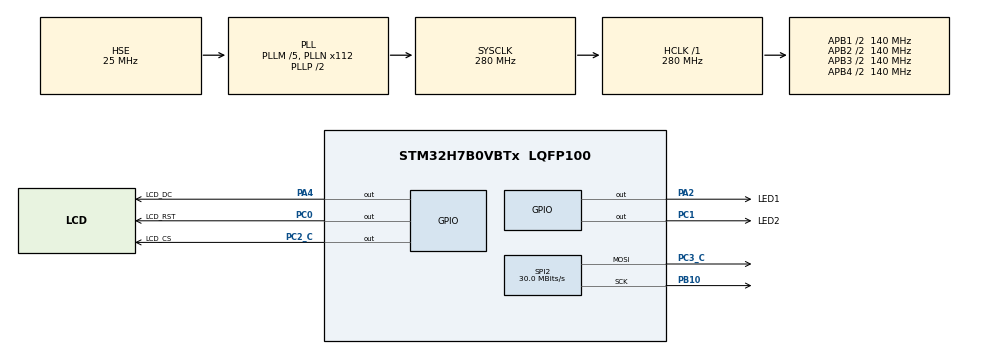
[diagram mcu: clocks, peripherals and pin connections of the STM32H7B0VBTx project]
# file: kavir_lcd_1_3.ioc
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CORTEX_M7.AccessPermission_S-Cortex_Memory_Protection_Unit_Region1_Settings_S=MPU_REGION_FULL_ACCESS
CORTEX_M7.AccessPermission_S-Cortex_Memory_Protection_Unit_Region2_Settings_S=MPU_REGION_FULL_ACCESS
CORTEX_M7.AccessPermission_S-Cortex_Memory_Protection_Unit_Region3_Settings_S=MPU_REGION_FULL_ACCESS
CORTEX_M7.BaseAddress_S-Cortex_Memory_Protection_Unit_Region1_Settings_S=0x24000000
CORTEX_M7.BaseAddress_S-Cortex_Memory_Protection_Unit_Region2_Settings_S=0x90000000
CORTEX_M7.BaseAddress_S-Cortex_Memory_Protection_Unit_Region3_Settings_S=0x90000000
CORTEX_M7.CPU_DCache=Enabled
CORTEX_M7.CPU_ICache=Enabled
CORTEX_M7.DisableExec_S-Cortex_Memory_Protection_Unit_Region1_Settings_S=MPU_INSTRUCTION_ACCESS_DISABLE
CORTEX_M7.DisableExec_S-Cortex_Memory_Protection_Unit_Region2_Settings_S=MPU_INSTRUCTION_ACCESS_DISABLE
CORTEX_M7.Enable_S-Cortex_Memory_Protection_Unit_Region1_Settings_S=MPU_REGION_ENABLE
CORTEX_M7.Enable_S-Cortex_Memory_Protection_Unit_Region2_Settings_S=MPU_REGION_ENABLE
CORTEX_M7.Enable_S-Cortex_Memory_Protection_Unit_Region3_Settings_S=MPU_REGION_ENABLE
CORTEX_M7.IsBufferable_S-Cortex_Memory_Protection_Unit_Region1_Settings_S=MPU_ACCESS_BUFFERABLE
CORTEX_M7.IsBufferable_S-Cortex_Memory_Protection_Unit_Region2_Settings_S=MPU_ACCESS_BUFFERABLE
CORTEX_M7.IsBufferable_S-Cortex_Memory_Protection_Unit_Region3_Settings_S=MPU_ACCESS_BUFFERABLE
CORTEX_M7.IsCacheable_S-Cortex_Memory_Protection_Unit_Region1_Settings_S=MPU_ACCESS_CACHEABLE
CORTEX_M7.IsCacheable_S-Cortex_Memory_Protection_Unit_Region2_Settings_S=MPU_ACCESS_CACHEABLE
CORTEX_M7.IsCacheable_S-Cortex_Memory_Protection_Unit_Region3_Settings_S=MPU_ACCESS_CACHEABLE
CORTEX_M7.IsShareable_S-Cortex_Memory_Protection_Unit_Region1_Settings_S=MPU_ACCESS_SHAREABLE
CORTEX_M7.Size_S-Cortex_Memory_Protection_Unit_Region1_Settings_S=MPU_REGION_SIZE_1MB
CORTEX_M7.Size_S-Cortex_Memory_Protection_Unit_Region2_Settings_S=MPU_REGION_SIZE_8MB
CORTEX_M7.Size_S-Cortex_Memory_Protection_Unit_Region3_Settings_S=MPU_REGION_SIZE_2MB
Dma.Request0=SPI2_TX
Dma.SPI2_TX.0.Direction=DMA_MEMORY_TO_PERIPH
Dma.SPI2_TX.0.EventEnable=DISABLE
Dma.SPI2_TX.0.FIFOMode=DMA_FIFOMODE_DISABLE
Dma.SPI2_TX.0.Instance=DMA1_Stream0
Dma.SPI2_TX.0.MemDataAlignment=DMA_MDATAALIGN_BYTE
Dma.SPI2_TX.0.MemInc=DMA_MINC_ENABLE
Dma.SPI2_TX.0.Mode=DMA_NORMAL
Dma.SPI2_TX.0.PeriphDataAlignment=DMA_PDATAALIGN_BYTE
Dma.SPI2_TX.0.PeriphInc=DMA_PINC_DISABLE
Dma.SPI2_TX.0.Polarity=HAL_DMAMUX_REQ_GEN_RISING
Dma.SPI2_TX.0.Priority=DMA_PRIORITY_LOW
Dma.SPI2_TX.0.RequestNumber=1
Dma.SPI2_TX.0.SignalID=NONE
Dma.SPI2_TX.0.SyncEnable=DISABLE
Dma.SPI2_TX.0.SyncPolarity=HAL_DMAMUX_SYNC_NO_EVENT
Dma.SPI2_TX.0.SyncRequestNumber=1
Dma.SPI2_TX.0.SyncSignalID=NONE
Mcu.Family=STM32H7
Mcu.Name=STM32H7B0VBTx
Mcu.Package=LQFP100
NVIC.DMA1_Stream0_IRQn=true\:0\:0\:false\:false\:true\:false\:true\:true
NVIC.PriorityGroup=NVIC_PRIORITYGROUP_4
NVIC.SPI2_IRQn=true\:0\:0\:false\:false\:true\:false\:true\:true
PA2.GPIO_Label=LED1
PA2.Signal=GPIO_Output
PA4.GPIO_Label=LCD_DC
PA4.GPIO_Speed=GPIO_SPEED_FREQ_MEDIUM
PA4.Signal=GPIO_Output
PB10.Mode=TX_Only_Simplex_Unidirect_Master
PB10.Signal=SPI2_SCK
PC0.GPIO_Label=LCD_RST
PC0.PinState=GPIO_PIN_SET
PC0.Signal=GPIO_Output
PC1.GPIO_Label=LED2
PC1.Signal=GPIO_Output
PC2_C.GPIO_Label=LCD_CS
PC2_C.GPIO_Speed=GPIO_SPEED_FREQ_MEDIUM
PC2_C.PinState=GPIO_PIN_SET
PC2_C.Signal=GPIO_Output
PC3_C.Mode=TX_Only_Simplex_Unidirect_Master
PC3_C.Signal=SPI2_MOSI
PH0-OSC_IN.Mode=HSE-External-Oscillator
PH0-OSC_IN.Signal=RCC_OSC_IN
PH1-OSC_OUT.Mode=HSE-External-Oscillator
PH1-OSC_OUT.Signal=RCC_OSC_OUT
ProjectManager.HeapSize=0x4000
ProjectManager.StackSize=0x2000
ProjectManager.TargetToolchain=STM32CubeIDE
RCC.ADCFreq_Value=120000000
RCC.APB1Freq_Value=140000000
RCC.APB2Freq_Value=140000000
RCC.APB3Freq_Value=140000000
RCC.APB4Freq_Value=140000000
RCC.CDPPRE=RCC_APB3_DIV2
RCC.CDPPRE1=RCC_APB1_DIV2
RCC.CDPPRE2=RCC_APB2_DIV2
RCC.CortexFreq_Value=280000000
RCC.DIVM1=5
RCC.DIVM2=25
RCC.DIVN1=112
RCC.DIVN2=240
RCC.HCLKFreq_Value=280000000
RCC.HSE_VALUE=25000000
RCC.PLLSourceVirtual=RCC_PLLSOURCE_HSE
RCC.SPI123CLockSelection=RCC_SPI123CLKSOURCE_PLL2
RCC.SRDPPRE=RCC_APB4_DIV2
RCC.SYSCLKFreq_VALUE=280000000
RCC.SYSCLKSource=RCC_SYSCLKSOURCE_PLLCLK
RCC.USBFreq_Value=280000000
SPI2.BaudRatePrescaler=SPI_BAUDRATEPRESCALER_4
SPI2.CalculateBaudRate=30.0 MBits/s
SPI2.DataSize=SPI_DATASIZE_8BIT
SPI2.Direction=SPI_DIRECTION_2LINES_TXONLY
SPI2.Mode=SPI_MODE_MASTER
SPI2.VirtualType=VM_MASTER
board=custom

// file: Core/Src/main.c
/* USER CODE BEGIN Header */
/**
  ******************************************************************************
  * @file           : main.c
  * @brief          : Main program body
  ******************************************************************************
  * @attention
  *
  * Copyright (c) 2023 STMicroelectronics.
  * All rights reserved.
  *
  * This software is licensed under terms that can be found in the LICENSE file
  * in the root directory of this software component.
  * If no LICENSE file comes with this software, it is provided AS-IS.
  *
  ******************************************************************************
  */
/* USER CODE END Header */
#include "main.h"

/* USER CODE BEGIN Includes */
#include "GUI.h"
#include "DIALOG.h"
#include "st7789.h"
/* USER CODE END Includes */

SPI_HandleTypeDef hspi2;
DMA_HandleTypeDef hdma_spi2_tx;

/* USER CODE BEGIN PV */
extern GUI_CONST_STORAGE GUI_FONT GUI_FontBTitr24;
/* USER CODE END PV */

void SystemClock_Config(void);
static void MPU_Config(void);
static void MX_GPIO_Init(void);
static void MX_DMA_Init(void);
static void MX_SPI2_Init(void);
/* USER CODE BEGIN PFP */
extern void MainTask(void);
/* USER CODE END PFP */

/* USER CODE BEGIN 0 */
uint8_t spi_transfer_complete = 0;
/* USER CODE END 0 */

int main(void)
{

  /* MPU Configuration--------------------------------------------------------*/
  MPU_Config();

  /* Enable I-Cache---------------------------------------------------------*/
  SCB_EnableICache();

  /* Enable D-Cache---------------------------------------------------------*/
  SCB_EnableDCache();

  /* MCU Configuration--------------------------------------------------------*/

  /* Reset of all peripherals, Initializes the Flash interface and the Systick. */
  HAL_Init();

  /* Configure the system clock */
  SystemClock_Config();

  /* Initialize all configured peripherals */
  MX_GPIO_Init();
  MX_DMA_Init();
  MX_SPI2_Init();
  /* USER CODE BEGIN 2 */
  HAL_GPIO_WritePin(LED1_GPIO_Port, LED1_Pin, GPIO_PIN_SET);
//  Lcd_Init();
//  LCD_Clear(RED);
//  HAL_Delay(1000);
//  LCD_Clear(GREEN);
//  HAL_Delay(1000);
//  LCD_Clear(BLUE);
//  HAL_Delay(1000);
  WM_SetCreateFlags(WM_CF_MEMDEV);
  GUI_Init();
  GUI_Clear();
  GUI_SetColor(GUI_RED);
  GUI_DispStringAt("Hello Masoud", 10, 10);
  GUI_UC_SetEncodeUTF8(); /* Enable UTF8 decoding */
  GUI_UC_EnableBIDI(1);   /* Enable bidirectional text */
  GUI_SetFont(&GUI_FontBTitr24);
  GUI_DispStringAt("سلام مسعود", 10, 100);
  HAL_Delay(100);
  MainTask();
  /* USER CODE END 2 */

  /* Infinite loop */
  /* USER CODE BEGIN WHILE */
  while (1)
  {
	  HAL_GPIO_TogglePin(LED1_GPIO_Port, LED1_Pin);
	  HAL_GPIO_TogglePin(LED2_GPIO_Port, LED2_Pin);
	  HAL_Delay(500);
    /* USER CODE END WHILE */

  }
}

void SystemClock_Config(void)
{
  RCC_OscInitTypeDef RCC_OscInitStruct = {0};
  RCC_ClkInitTypeDef RCC_ClkInitStruct = {0};

  /*AXI clock gating */
  RCC->CKGAENR = 0xFFFFFFFF;

  /** Supply configuration update enable
  */
  HAL_PWREx_ConfigSupply(PWR_LDO_SUPPLY);

  /** Configure the main internal regulator output voltage
  */
  __HAL_PWR_VOLTAGESCALING_CONFIG(PWR_REGULATOR_VOLTAGE_SCALE0);

  while(!__HAL_PWR_GET_FLAG(PWR_FLAG_VOSRDY)) {}

  /** Initializes the RCC Oscillators according to the specified parameters
  * in the RCC_OscInitTypeDef structure.
  */
  RCC_OscInitStruct.OscillatorType = RCC_OSCILLATORTYPE_HSE;
  RCC_OscInitStruct.HSEState = RCC_HSE_ON;
  RCC_OscInitStruct.PLL.PLLState = RCC_PLL_ON;
  RCC_OscInitStruct.PLL.PLLSource = RCC_PLLSOURCE_HSE;
  RCC_OscInitStruct.PLL.PLLM = 5;
  RCC_OscInitStruct.PLL.PLLN = 112;
  RCC_OscInitStruct.PLL.PLLP = 2;
  RCC_OscInitStruct.PLL.PLLQ = 2;
  RCC_OscInitStruct.PLL.PLLR = 2;
  RCC_OscInitStruct.PLL.PLLRGE = RCC_PLL1VCIRANGE_2;
  RCC_OscInitStruct.PLL.PLLVCOSEL = RCC_PLL1VCOWIDE;
  RCC_OscInitStruct.PLL.PLLFRACN = 0;
  if (HAL_RCC_OscConfig(&RCC_OscInitStruct) != HAL_OK)
  {
    Error_Handler();
  }

  /** Initializes the CPU, AHB and APB buses clocks
  */
  RCC_ClkInitStruct.ClockType = RCC_CLOCKTYPE_HCLK|RCC_CLOCKTYPE_SYSCLK
                              |RCC_CLOCKTYPE_PCLK1|RCC_CLOCKTYPE_PCLK2
                              |RCC_CLOCKTYPE_D3PCLK1|RCC_CLOCKTYPE_D1PCLK1;
  RCC_ClkInitStruct.SYSCLKSource = RCC_SYSCLKSOURCE_PLLCLK;
  RCC_ClkInitStruct.SYSCLKDivider = RCC_SYSCLK_DIV1;
  RCC_ClkInitStruct.AHBCLKDivider = RCC_HCLK_DIV1;
  RCC_ClkInitStruct.APB3CLKDivider = RCC_APB3_DIV2;
  RCC_ClkInitStruct.APB1CLKDivider = RCC_APB1_DIV2;
  RCC_ClkInitStruct.APB2CLKDivider = RCC_APB2_DIV2;
  RCC_ClkInitStruct.APB4CLKDivider = RCC_APB4_DIV2;

  if (HAL_RCC_ClockConfig(&RCC_ClkInitStruct, FLASH_LATENCY_7) != HAL_OK)
  {
    Error_Handler();
  }
}

static void MX_SPI2_Init(void)
{

  /* SPI2 parameter configuration*/
  hspi2.Instance = SPI2;
  hspi2.Init.Mode = SPI_MODE_MASTER;
  hspi2.Init.Direction = SPI_DIRECTION_2LINES_TXONLY;
  hspi2.Init.DataSize = SPI_DATASIZE_8BIT;
  hspi2.Init.CLKPolarity = SPI_POLARITY_LOW;
  hspi2.Init.CLKPhase = SPI_PHASE_1EDGE;
  hspi2.Init.NSS = SPI_NSS_SOFT;
  hspi2.Init.BaudRatePrescaler = SPI_BAUDRATEPRESCALER_4;
  hspi2.Init.FirstBit = SPI_FIRSTBIT_MSB;
  hspi2.Init.TIMode = SPI_TIMODE_DISABLE;
  hspi2.Init.CRCCalculation = SPI_CRCCALCULATION_DISABLE;
  hspi2.Init.CRCPolynomial = 0x0;
  hspi2.Init.NSSPMode = SPI_NSS_PULSE_ENABLE;
  hspi2.Init.NSSPolarity = SPI_NSS_POLARITY_LOW;
  hspi2.Init.FifoThreshold = SPI_FIFO_THRESHOLD_01DATA;
  hspi2.Init.TxCRCInitializationPattern = SPI_CRC_INITIALIZATION_ALL_ZERO_PATTERN;
  hspi2.Init.RxCRCInitializationPattern = SPI_CRC_INITIALIZATION_ALL_ZERO_PATTERN;
  hspi2.Init.MasterSSIdleness = SPI_MASTER_SS_IDLENESS_00CYCLE;
  hspi2.Init.MasterInterDataIdleness = SPI_MASTER_INTERDATA_IDLENESS_00CYCLE;
  hspi2.Init.MasterReceiverAutoSusp = SPI_MASTER_RX_AUTOSUSP_DISABLE;
  hspi2.Init.MasterKeepIOState = SPI_MASTER_KEEP_IO_STATE_DISABLE;
  hspi2.Init.IOSwap = SPI_IO_SWAP_DISABLE;
  if (HAL_SPI_Init(&hspi2) != HAL_OK)
  {
    Error_Handler();
  }

}

static void MX_DMA_Init(void)
{

  /* DMA controller clock enable */
  __HAL_RCC_DMA1_CLK_ENABLE();

  /* DMA interrupt init */
  /* DMA1_Stream0_IRQn interrupt configuration */
  HAL_NVIC_SetPriority(DMA1_Stream0_IRQn, 0, 0);
  HAL_NVIC_EnableIRQ(DMA1_Stream0_IRQn);

}

static void MX_GPIO_Init(void)
{
  GPIO_InitTypeDef GPIO_InitStruct = {0};

  /* GPIO Ports Clock Enable */
  __HAL_RCC_GPIOH_CLK_ENABLE();
  __HAL_RCC_GPIOC_CLK_ENABLE();
  __HAL_RCC_GPIOA_CLK_ENABLE();
  __HAL_RCC_GPIOB_CLK_ENABLE();

  /*Configure GPIO pin Output Level */
  HAL_GPIO_WritePin(GPIOC, LCD_RST_Pin|LCD_CS_Pin, GPIO_PIN_SET);

  /*Configure GPIO pin Output Level */
  HAL_GPIO_WritePin(LED2_GPIO_Port, LED2_Pin, GPIO_PIN_RESET);

  /*Configure GPIO pin Output Level */
  HAL_GPIO_WritePin(GPIOA, LED1_Pin|LCD_DC_Pin, GPIO_PIN_RESET);

  /*Configure GPIO pins : LCD_RST_Pin LED2_Pin */
  GPIO_InitStruct.Pin = LCD_RST_Pin|LED2_Pin;
  GPIO_InitStruct.Mode = GPIO_MODE_OUTPUT_PP;
  GPIO_InitStruct.Pull = GPIO_NOPULL;
  GPIO_InitStruct.Speed = GPIO_SPEED_FREQ_LOW;
  HAL_GPIO_Init(GPIOC, &GPIO_InitStruct);

  /*Configure GPIO pin : LCD_CS_Pin */
  GPIO_InitStruct.Pin = LCD_CS_Pin;
  GPIO_InitStruct.Mode = GPIO_MODE_OUTPUT_PP;
  GPIO_InitStruct.Pull = GPIO_NOPULL;
  GPIO_InitStruct.Speed = GPIO_SPEED_FREQ_MEDIUM;
  HAL_GPIO_Init(LCD_CS_GPIO_Port, &GPIO_InitStruct);

  /*Configure GPIO pin : LED1_Pin */
  GPIO_InitStruct.Pin = LED1_Pin;
  GPIO_InitStruct.Mode = GPIO_MODE_OUTPUT_PP;
  GPIO_InitStruct.Pull = GPIO_NOPULL;
  GPIO_InitStruct.Speed = GPIO_SPEED_FREQ_LOW;
  HAL_GPIO_Init(LED1_GPIO_Port, &GPIO_InitStruct);

  /*Configure GPIO pin : LCD_DC_Pin */
  GPIO_InitStruct.Pin = LCD_DC_Pin;
  GPIO_InitStruct.Mode = GPIO_MODE_OUTPUT_PP;
  GPIO_InitStruct.Pull = GPIO_NOPULL;
  GPIO_InitStruct.Speed = GPIO_SPEED_FREQ_MEDIUM;
  HAL_GPIO_Init(LCD_DC_GPIO_Port, &GPIO_InitStruct);

}

/* USER CODE BEGIN 4 */
void HAL_SPI_TxCpltCallback(SPI_HandleTypeDef * hspi)
{
    if( hspi == &hspi2){
    	spi_transfer_complete = 1;
    }
}
void get_date(uint16_t* year, uint8_t* month, uint8_t* date){
	*year = 2023;
	*month = 7;
	*date = 22;
}
void get_time(uint8_t* hour, uint8_t* min, uint8_t *sec){
	*hour = 9;
	*min = 55;
	*sec = 0;
}
int get_auth(){
	return 1;
}
/* USER CODE END 4 */

/* MPU Configuration */

void MPU_Config(void)
{
  MPU_Region_InitTypeDef MPU_InitStruct = {0};

  /* Disables the MPU */
  HAL_MPU_Disable();

  /** Initializes and configures the Region and the memory to be protected
  */
  MPU_InitStruct.Enable = MPU_REGION_ENABLE;
  MPU_InitStruct.Number = MPU_REGION_NUMBER0;
  MPU_InitStruct.BaseAddress = 0x0;
  MPU_InitStruct.Size = MPU_REGION_SIZE_4GB;
  MPU_InitStruct.SubRegionDisable = 0x87;
  MPU_InitStruct.TypeExtField = MPU_TEX_LEVEL0;
  MPU_InitStruct.AccessPermission = MPU_REGION_NO_ACCESS;
  MPU_InitStruct.DisableExec = MPU_INSTRUCTION_ACCESS_DISABLE;
  MPU_InitStruct.IsShareable = MPU_ACCESS_SHAREABLE;
  MPU_InitStruct.IsCacheable = MPU_ACCESS_NOT_CACHEABLE;
  MPU_InitStruct.IsBufferable = MPU_ACCESS_NOT_BUFFERABLE;

  HAL_MPU_ConfigRegion(&MPU_InitStruct);

  /** Initializes and configures the Region and the memory to be protected
  */
  MPU_InitStruct.Number = MPU_REGION_NUMBER1;
  MPU_InitStruct.BaseAddress = 0x24000000;
  MPU_InitStruct.Size = MPU_REGION_SIZE_1MB;
  MPU_InitStruct.SubRegionDisable = 0x0;
  MPU_InitStruct.AccessPermission = MPU_REGION_FULL_ACCESS;
  MPU_InitStruct.IsCacheable = MPU_ACCESS_CACHEABLE;
  MPU_InitStruct.IsBufferable = MPU_ACCESS_BUFFERABLE;

  HAL_MPU_ConfigRegion(&MPU_InitStruct);

  /** Initializes and configures the Region and the memory to be protected
  */
  MPU_InitStruct.Number = MPU_REGION_NUMBER2;
  MPU_InitStruct.BaseAddress = 0x90000000;
  MPU_InitStruct.Size = MPU_REGION_SIZE_8MB;
  MPU_InitStruct.IsShareable = MPU_ACCESS_NOT_SHAREABLE;

  HAL_MPU_ConfigRegion(&MPU_InitStruct);

  /** Initializes and configures the Region and the memory to be protected
  */
  MPU_InitStruct.Number = MPU_REGION_NUMBER3;
  MPU_InitStruct.Size = MPU_REGION_SIZE_2MB;
  MPU_InitStruct.DisableExec = MPU_INSTRUCTION_ACCESS_ENABLE;

  HAL_MPU_ConfigRegion(&MPU_InitStruct);
  /* Enables the MPU */
  HAL_MPU_Enable(MPU_PRIVILEGED_DEFAULT);

}

void Error_Handler(void)
{
  __disable_irq();
  while (1)
  {
  }
}
